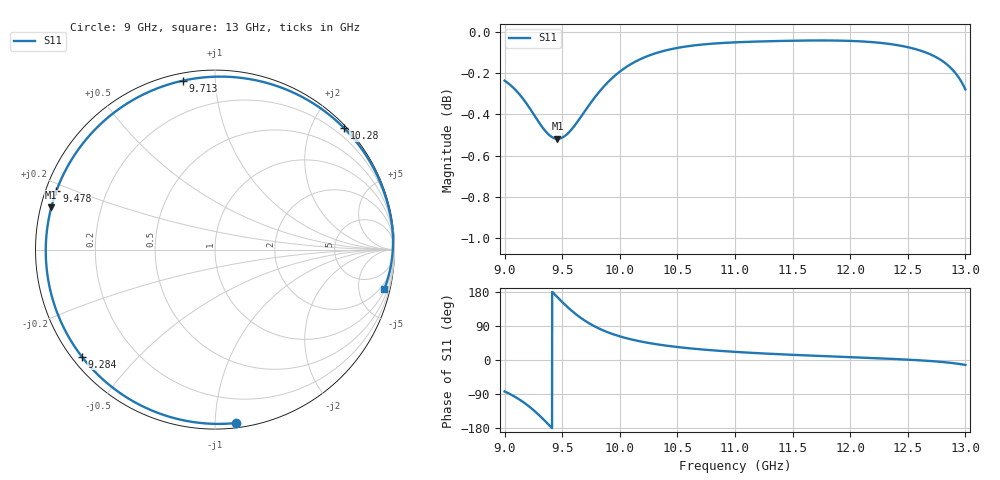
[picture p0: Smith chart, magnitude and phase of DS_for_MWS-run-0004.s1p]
! TOUCHSTONE file generated by CST DESIGN STUDIO
! Date and time: Tue Feb  4 13:51:21 2025
! Project name: C:\Work\MatlabApps\UnitCellOptimizationMatlab\CST\unitcell.cst
! Tree item: Tasks\Sweep1\SPara1\S-Parameters
! Header version: 2024
! Port assignment regex: !\s*Touchstone port\s*([0-9]+)\s*=\s*(CST MWS port|CST DES external port|CST DES block port)\s*(.+)\s* \(\"(.*)\"\)(\s*mode\s*([0-9]+))?.*
! Touchstone port assignment:
! Touchstone port 1 = CST DES external port 1 ("")
# GHz S MA R 50
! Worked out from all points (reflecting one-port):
!   4001 points, 9 GHz to 13 GHz, reference 50 ohm
!   lowest |S11| = -0.5 dB at 9.459 GHz (marker M1), VSWR 33.52, Z = 1.52 + j6.36 ohm
!   phase of S11 starts at -83 deg and turns -290 deg over the sweep
!   S11 on the Smith chart (normalised r, x): 9 GHz: 0.03, -1.13; 9.284 GHz: 0.03, -0.35; 9.478 GHz: 0.03, +0.18; 9.713 GHz: 0.04, +0.83; 10.28 GHz: 0.05, +2.52; 13 GHz: 1.21, -8.54
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9  0.9732 -83.0
9.087  0.9686 -96.6
9.158  0.9635 -110.3
9.222  0.9579 -124.9
9.284  0.952 -141.3
9.332  0.9478 -155.1
9.375  0.9447 -168.3
9.417  0.9427 178.6
9.459  0.9421 165.5
9.478  0.9422 159.7
9.5  0.9427 153.0
9.552  0.945 138.1
9.603  0.9486 124.7
9.656  0.9531 112.3
9.713  0.9582 100.7
9.776  0.9635 89.7
9.851  0.9693 78.7
9.923  0.974 70.1
10  0.9781 62.4
10.13  0.9834 52.2
10.283  0.9877 43.3
10.5  0.9912 34.2
11  0.9943 21.5
11.5  0.9952 13.7
12  0.9951 7.5
12.5  0.9916 0.9
12.792  0.9843 -5.0
13  0.9684 -13.1
